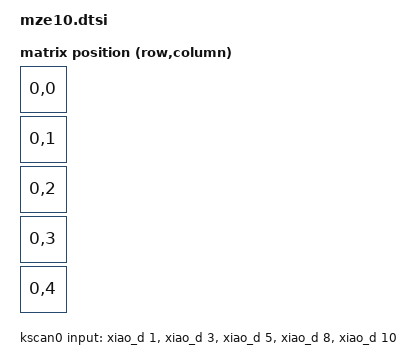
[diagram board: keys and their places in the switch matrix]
/*
 * Copyright (c) 2022 The ZMK Contributors
 *
 * SPDX-License-Identifier: MIT
 */

#include <dt-bindings/zmk/matrix_transform.h>
#include "mze10-layouts.dtsi"

/ {
	chosen {
		zmk,kscan = &kscan0;
		zmk,physical-layout = &physical_layout0;
	};

	default_transform: keymap_transform {
		compatible = "zmk,matrix-transform";
		columns = <5>;
		rows = <1>;
		map = <
			RC(0,0)
			RC(0,1)
			RC(0,2)
			RC(0,3)
			RC(0,4)
		>;
	};

	kscan0: kscan {
		compatible = "zmk,kscan-gpio-direct";
		input-gpios =
			<&xiao_d  1 (GPIO_ACTIVE_LOW | GPIO_PULL_UP)>,
			<&xiao_d  3 (GPIO_ACTIVE_LOW | GPIO_PULL_UP)>,
			<&xiao_d  5 (GPIO_ACTIVE_LOW | GPIO_PULL_UP)>,
			<&xiao_d  8 (GPIO_ACTIVE_LOW | GPIO_PULL_UP)>,
			<&xiao_d  10 (GPIO_ACTIVE_LOW | GPIO_PULL_UP)>;
		wakeup-source;
	};

	physical_layout0 {
		kscan = <&kscan0>;
		transform = <&default_transform>;
	};
};
